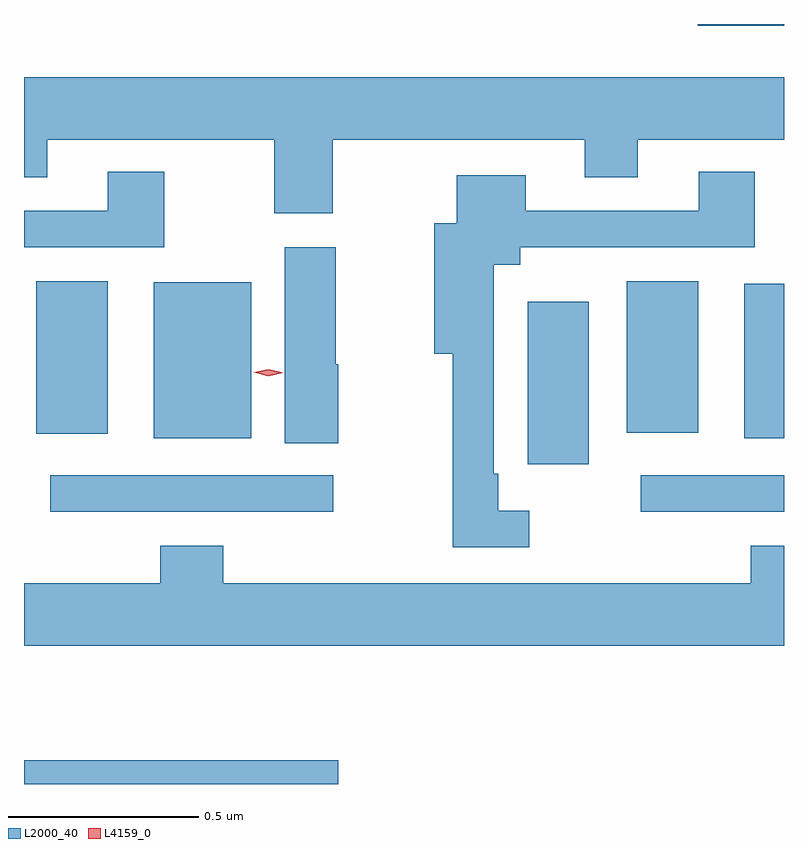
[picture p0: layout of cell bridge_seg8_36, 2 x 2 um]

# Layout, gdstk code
import gdstk
lib = gdstk.Library(unit=1e-6, precision=1e-09)
def R(c, l, rs):  # rectangles x0, y0, x1, y1
    for r in rs: c.add(gdstk.rectangle(r[:2], r[2:], *l))
def P(c, l, *ps):  # polygons
    for p in ps: c.add(gdstk.Polygon(p, *l))
L2000_40 = (2000, 40)
L4159_0 = (4159, 0)

bridge_seg8_36 = lib.new_cell('bridge_seg8_36')
R(bridge_seg8_36, L2000_40, [(1036.68,1128.124,1037.507,1128.187), (1036.749,1128.84,1037.494,1128.936), (1038.303,1128.84,1038.68,1128.936), (1038.005,1128.966,1038.166,1129.393), (1037.021,1129.034,1037.278,1129.444), (1038.575,1129.034,1038.68,1129.441), (1036.712,1129.046,1036.9,1129.447), (1038.266,1129.049,1038.454,1129.447), (1038.453,1130.12,1038.68,1130.124)])
P(bridge_seg8_36, L2000_40, [(1037.493,1129.82),(1038.155,1129.82),(1038.155,1129.721),(1038.295,1129.721),(1038.295,1129.82),(1038.68,1129.82),(1038.68,1129.984),(1036.68,1129.984),(1036.68,1129.721),(1036.741,1129.721),(1036.741,1129.82),(1037.338,1129.82),(1037.338,1129.626),(1037.493,1129.626)],
  [(1038.01,1128.843),(1037.928,1128.843),(1037.928,1128.94),(1037.916,1128.94),(1037.916,1129.49),(1037.986,1129.49),(1037.986,1129.536),(1038.603,1129.536),(1038.603,1129.735),(1038.455,1129.735),(1038.455,1129.632),(1038.001,1129.632),(1038.001,1129.726),(1037.819,1129.726),(1037.819,1129.6),(1037.759,1129.6),(1037.759,1129.256),(1037.808,1129.256),(1037.808,1128.747),(1038.01,1128.747)],
  [(1037.049,1129.735),(1036.901,1129.735),(1036.901,1129.632),(1036.68,1129.632),(1036.68,1129.536),(1037.049,1129.536)],
  [(1037.507,1129.229),(1037.5,1129.229),(1037.5,1129.537),(1037.366,1129.537),(1037.366,1129.021),(1037.507,1129.021)],
  [(1038.68,1128.751),(1038.593,1128.751),(1038.593,1128.652),(1037.204,1128.652),(1037.204,1128.751),(1037.039,1128.751),(1037.039,1128.652),(1036.68,1128.652),(1036.68,1128.488),(1038.68,1128.488)])
P(bridge_seg8_36, L4159_0, [(1037.323,1129.197),(1037.285,1129.207),(1037.285,1129.207),(1037.285,1129.207),(1037.324,1129.216),(1037.362,1129.206),(1037.362,1129.206),(1037.362,1129.206)])

lib.write_gds('bridge_seg8_36.gds')
